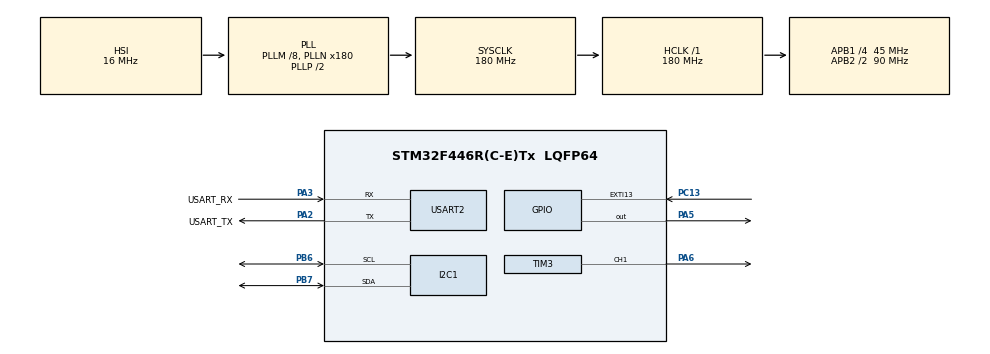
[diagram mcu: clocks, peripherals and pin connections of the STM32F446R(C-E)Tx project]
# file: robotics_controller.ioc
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FREERTOS.Queues01=IMUQueue,4,IMU_State,0,Dynamic,NULL,NULL
FREERTOS.Tasks01=ControlTask,32,512,StartControlTask,Default,NULL,Dynamic,NULL,NULL;SensorTask,24,512,StartSensorTask,Default,NULL,Dynamic,NULL,NULL;WatchdogTask,32,128,StartWatchdogTask,Default,NULL,Dynamic,NULL,NULL
FREERTOS.configUSE_NEWLIB_REENTRANT=1
Mcu.Family=STM32F4
Mcu.Name=STM32F446R(C-E)Tx
Mcu.Package=LQFP64
NUCLEO-F446RE.BUTTON=1
NUCLEO-F446RE.LD1=true
NVIC.EXTI15_10_IRQn=true\:5\:0\:false\:false\:true\:true\:false\:true\:true
NVIC.PriorityGroup=NVIC_PRIORITYGROUP_4
NVIC.TIM2_IRQn=true\:5\:0\:false\:false\:true\:true\:true\:true\:true
NVIC.TIM6_DAC_IRQn=true\:15\:0\:false\:false\:true\:false\:false\:true\:true
NVIC.TimeBase=TIM6_DAC_IRQn
NVIC.TimeBaseIP=TIM6
PA13.GPIO_Label=TMS
PA13.Mode=Serial_Wire
PA13.Signal=SYS_JTMS-SWDIO
PA14.GPIO_Label=TCK
PA14.Mode=Serial_Wire
PA14.Signal=SYS_JTCK-SWCLK
PA2.GPIO_Label=USART_TX
PA2.Mode=Asynchronous
PA2.Signal=USART2_TX
PA3.GPIO_Label=USART_RX
PA3.Mode=Asynchronous
PA3.Signal=USART2_RX
PA5.Signal=GPIO_Output
PA6.Signal=S_TIM3_CH1
PB3.GPIO_Label=SWO
PB3.Signal=SYS_JTDO-SWO
PB6.Mode=I2C
PB6.Signal=I2C1_SCL
PB7.Mode=I2C
PB7.Signal=I2C1_SDA
PC13.Signal=GPXTI13
PC14-OSC32_IN.Signal=RCC_OSC32_IN
PC15-OSC32_OUT.Signal=RCC_OSC32_OUT
PH0-OSC_IN.Mode=HSE-External-Oscillator
PH0-OSC_IN.Signal=RCC_OSC_IN
PH1-OSC_OUT.Mode=HSE-External-Oscillator
PH1-OSC_OUT.Signal=RCC_OSC_OUT
ProjectManager.HeapSize=0x200
ProjectManager.StackSize=0x400
ProjectManager.TargetToolchain=STM32CubeIDE
RCC.AHBFreq_Value=180000000
RCC.APB1CLKDivider=RCC_HCLK_DIV4
RCC.APB1Freq_Value=45000000
RCC.APB1TimFreq_Value=90000000
RCC.APB2CLKDivider=RCC_HCLK_DIV2
RCC.APB2Freq_Value=90000000
RCC.APB2TimFreq_Value=180000000
RCC.CortexFreq_Value=180000000
RCC.FLatency-AdvancedSettings=FLASH_LATENCY_5
RCC.HCLKFreq_Value=180000000
RCC.HSE_VALUE=8000000
RCC.HSI_VALUE=16000000
RCC.LSE_VALUE=32768
RCC.PLLM=8
RCC.PLLN=180
RCC.SYSCLKFreq_VALUE=180000000
RCC.SYSCLKSource=RCC_SYSCLKSOURCE_PLLCLK
RCC.USBFreq_Value=180000000
RCC.VCOOutputFreq_Value=360000000
SH.S_TIM3_CH1.0=TIM3_CH1,PWM Generation1 CH1
TIM2.Period=99
TIM2.Prescaler=8999
TIM3.Channel-PWM\ Generation1\ CH1=TIM_CHANNEL_1
TIM3.Period=999
TIM3.Prescaler=89
USART2.VirtualMode=VM_ASYNC
VP_FREERTOS_VS_CMSIS_V2.Mode=CMSIS_V2
VP_IWDG_VS_IWDG.Mode=IWDG_Activate
VP_NUCLEO-F446RE_VS_BSP_COMMON.Mode=COMMON
VP_SYS_VS_tim6.Mode=TIM6
VP_TIM2_VS_ClockSourceINT.Mode=Internal
board=NUCLEO-F446RE

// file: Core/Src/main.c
/* USER CODE BEGIN Header */
/**
  ******************************************************************************
  * @file           : main.c
  * @brief          : Main program body
  ******************************************************************************
  * @attention
  *
  * Copyright (c) 2026 STMicroelectronics.
  * All rights reserved.
  *
  * This software is licensed under terms that can be found in the LICENSE file
  * in the root directory of this software component.
  * If no LICENSE file comes with this software, it is provided AS-IS.
  *
  ******************************************************************************
  */
/* USER CODE END Header */
#include "main.h"
#include "cmsis_os.h"

/* USER CODE BEGIN Includes */
#include <stdio.h>
#include "system_state.h"
#include <stm32f4xx_hal_tim.h>
#include "mpu6050.h"
#include "imu.h"
#include "motor.h"
/* USER CODE END Includes */

/* USER CODE BEGIN PD */
#define TARGET_PITCH 0.0f

#define KP 2.0f
#define KI 0.5f
#define KD 0.5f

#define INTEGRAL_LIMIT    50.0f
/* USER CODE END PD */

I2C_HandleTypeDef hi2c1;

IWDG_HandleTypeDef hiwdg;

TIM_HandleTypeDef htim2;
TIM_HandleTypeDef htim3;

UART_HandleTypeDef huart2;

/* Definitions for ControlTask */
osThreadId_t ControlTaskHandle;
const osThreadAttr_t ControlTask_attributes = {
  .name = "ControlTask",
  .stack_size = 512 * 4,
  .priority = (osPriority_t) osPriorityAboveNormal,
};
/* Definitions for SensorTask */
osThreadId_t SensorTaskHandle;
const osThreadAttr_t SensorTask_attributes = {
  .name = "SensorTask",
  .stack_size = 512 * 4,
  .priority = (osPriority_t) osPriorityNormal,
};
/* Definitions for WatchdogTask */
osThreadId_t WatchdogTaskHandle;
const osThreadAttr_t WatchdogTask_attributes = {
  .name = "WatchdogTask",
  .stack_size = 128 * 4,
  .priority = (osPriority_t) osPriorityAboveNormal,
};
/* Definitions for IMUQueue */
osMessageQueueId_t IMUQueueHandle;
const osMessageQueueAttr_t IMUQueue_attributes = {
  .name = "IMUQueue"
};
/* USER CODE BEGIN PV */
volatile SystemState system_state = SYSTEM_BOOT;
volatile SystemError system_error = ERROR_NONE;

volatile uint32_t sensor_heartbeat=  0 ;
volatile uint32_t  control_heartbeat = 0;
/* USER CODE END PV */

void SystemClock_Config(void);
static void MX_GPIO_Init(void);
static void MX_I2C1_Init(void);
static void MX_USART2_UART_Init(void);
static void MX_TIM2_Init(void);
static void MX_TIM3_Init(void);
static void MX_IWDG_Init(void);
void StartControlTask(void *argument);
void StartSensorTask(void *argument);
void StartWatchdogTask(void *argument);

/* USER CODE BEGIN 0 */

int __io_putchar(int ch) {
    uint8_t c = (uint8_t)ch;

    HAL_UART_Transmit(&huart2, &c, 1, HAL_MAX_DELAY);

    return ch;
}

/* USER CODE END 0 */

int main(void)
{

  /* MCU Configuration--------------------------------------------------------*/

  /* Reset of all peripherals, Initializes the Flash interface and the Systick. */
  HAL_Init();

  /* Configure the system clock */
  SystemClock_Config();

  /* Initialize all configured peripherals */
  MX_GPIO_Init();
  MX_I2C1_Init();
  MX_USART2_UART_Init();
  MX_TIM2_Init();
  MX_TIM3_Init();
  MX_IWDG_Init();
  /* USER CODE BEGIN 2 */
  if (system_state != SYSTEM_ERROR ){

  if (Motor_Init()== HAL_OK){
	  printf("Motor initialized\r\n");
  }
  else{
	  printf("Motor initialization failed\r\n");
	  system_error = ERROR_CONTROL ;
	  system_state = SYSTEM_ERROR;
  }
}
  HAL_TIM_PWM_Start(&htim3, TIM_CHANNEL_1);

if (IMU_Init() == IMU_OK)
{
    printf("IMU initialization successful\r\n");
}
else
{

    printf("IMU initialization failed\r\n");

    system_error = ERROR_IMU;
    system_state = SYSTEM_ERROR;
}

if (system_state != SYSTEM_ERROR) {
    system_state = SYSTEM_SELF_TEST;

    printf("SELF TEST\r\n");

    /*
     * For now, reaching this point means
     * the required initialization succeeded.
     */

    system_state = SYSTEM_READY;

    printf("SYSTEM READY\r\n");
}

if (system_state == SYSTEM_READY) {
    system_state = SYSTEM_RUNNING;

    printf("SYSTEM RUNNING\r\n");
}

  /* USER CODE END 2 */

  /* Init scheduler */
  osKernelInitialize();

  /* Create the queue(s) */
  /* creation of IMUQueue */
  IMUQueueHandle = osMessageQueueNew (4, sizeof(IMU_State), &IMUQueue_attributes);

  /* Create the thread(s) */
  /* creation of ControlTask */
  ControlTaskHandle = osThreadNew(StartControlTask, NULL, &ControlTask_attributes);

  /* creation of SensorTask */
  SensorTaskHandle = osThreadNew(StartSensorTask, NULL, &SensorTask_attributes);

  /* creation of WatchdogTask */
  WatchdogTaskHandle = osThreadNew(StartWatchdogTask, NULL, &WatchdogTask_attributes);

  /* Initialize leds */
  BSP_LED_Init(LED2);

  /* Initialize USER push-button, will be used to trigger an interrupt each time it's pressed.*/
  BSP_PB_Init(BUTTON_USER, BUTTON_MODE_EXTI);

  /* Start scheduler */
  osKernelStart();

  /* We should never get here as control is now taken by the scheduler */

  /* Infinite loop */
while (1) {

  }
}

void SystemClock_Config(void)
{
  RCC_OscInitTypeDef RCC_OscInitStruct = {0};
  RCC_ClkInitTypeDef RCC_ClkInitStruct = {0};

  /** Configure the main internal regulator output voltage
  */
  __HAL_RCC_PWR_CLK_ENABLE();
  __HAL_PWR_VOLTAGESCALING_CONFIG(PWR_REGULATOR_VOLTAGE_SCALE1);

  /** Initializes the RCC Oscillators according to the specified parameters
  * in the RCC_OscInitTypeDef structure.
  */
  RCC_OscInitStruct.OscillatorType = RCC_OSCILLATORTYPE_HSI|RCC_OSCILLATORTYPE_LSI;
  RCC_OscInitStruct.HSIState = RCC_HSI_ON;
  RCC_OscInitStruct.HSICalibrationValue = RCC_HSICALIBRATION_DEFAULT;
  RCC_OscInitStruct.LSIState = RCC_LSI_ON;
  RCC_OscInitStruct.PLL.PLLState = RCC_PLL_ON;
  RCC_OscInitStruct.PLL.PLLSource = RCC_PLLSOURCE_HSI;
  RCC_OscInitStruct.PLL.PLLM = 8;
  RCC_OscInitStruct.PLL.PLLN = 180;
  RCC_OscInitStruct.PLL.PLLP = RCC_PLLP_DIV2;
  RCC_OscInitStruct.PLL.PLLQ = 2;
  RCC_OscInitStruct.PLL.PLLR = 2;
  if (HAL_RCC_OscConfig(&RCC_OscInitStruct) != HAL_OK)
  {
    Error_Handler();
  }

  /** Activate the Over-Drive mode
  */
  if (HAL_PWREx_EnableOverDrive() != HAL_OK)
  {
    Error_Handler();
  }

  /** Initializes the CPU, AHB and APB buses clocks
  */
  RCC_ClkInitStruct.ClockType = RCC_CLOCKTYPE_HCLK|RCC_CLOCKTYPE_SYSCLK
                              |RCC_CLOCKTYPE_PCLK1|RCC_CLOCKTYPE_PCLK2;
  RCC_ClkInitStruct.SYSCLKSource = RCC_SYSCLKSOURCE_PLLCLK;
  RCC_ClkInitStruct.AHBCLKDivider = RCC_SYSCLK_DIV1;
  RCC_ClkInitStruct.APB1CLKDivider = RCC_HCLK_DIV4;
  RCC_ClkInitStruct.APB2CLKDivider = RCC_HCLK_DIV2;

  if (HAL_RCC_ClockConfig(&RCC_ClkInitStruct, FLASH_LATENCY_5) != HAL_OK)
  {
    Error_Handler();
  }
}

static void MX_I2C1_Init(void)
{

  hi2c1.Instance = I2C1;
  hi2c1.Init.ClockSpeed = 100000;
  hi2c1.Init.DutyCycle = I2C_DUTYCYCLE_2;
  hi2c1.Init.OwnAddress1 = 0;
  hi2c1.Init.AddressingMode = I2C_ADDRESSINGMODE_7BIT;
  hi2c1.Init.DualAddressMode = I2C_DUALADDRESS_DISABLE;
  hi2c1.Init.OwnAddress2 = 0;
  hi2c1.Init.GeneralCallMode = I2C_GENERALCALL_DISABLE;
  hi2c1.Init.NoStretchMode = I2C_NOSTRETCH_DISABLE;
  if (HAL_I2C_Init(&hi2c1) != HAL_OK)
  {
    Error_Handler();
  }

}

static void MX_IWDG_Init(void)
{

  hiwdg.Instance = IWDG;
  hiwdg.Init.Prescaler = IWDG_PRESCALER_4;
  hiwdg.Init.Reload = 4095;
  if (HAL_IWDG_Init(&hiwdg) != HAL_OK)
  {
    Error_Handler();
  }

}

static void MX_TIM2_Init(void)
{

  TIM_ClockConfigTypeDef sClockSourceConfig = {0};
  TIM_MasterConfigTypeDef sMasterConfig = {0};

  htim2.Instance = TIM2;
  htim2.Init.Prescaler = 8999;
  htim2.Init.CounterMode = TIM_COUNTERMODE_UP;
  htim2.Init.Period = 99;
  htim2.Init.ClockDivision = TIM_CLOCKDIVISION_DIV1;
  htim2.Init.AutoReloadPreload = TIM_AUTORELOAD_PRELOAD_DISABLE;
  if (HAL_TIM_Base_Init(&htim2) != HAL_OK)
  {
    Error_Handler();
  }
  sClockSourceConfig.ClockSource = TIM_CLOCKSOURCE_INTERNAL;
  if (HAL_TIM_ConfigClockSource(&htim2, &sClockSourceConfig) != HAL_OK)
  {
    Error_Handler();
  }
  sMasterConfig.MasterOutputTrigger = TIM_TRGO_RESET;
  sMasterConfig.MasterSlaveMode = TIM_MASTERSLAVEMODE_DISABLE;
  if (HAL_TIMEx_MasterConfigSynchronization(&htim2, &sMasterConfig) != HAL_OK)
  {
    Error_Handler();
  }

}

static void MX_TIM3_Init(void)
{

  TIM_MasterConfigTypeDef sMasterConfig = {0};
  TIM_OC_InitTypeDef sConfigOC = {0};

  htim3.Instance = TIM3;
  htim3.Init.Prescaler = 89;
  htim3.Init.CounterMode = TIM_COUNTERMODE_UP;
  htim3.Init.Period = 999;
  htim3.Init.ClockDivision = TIM_CLOCKDIVISION_DIV1;
  htim3.Init.AutoReloadPreload = TIM_AUTORELOAD_PRELOAD_DISABLE;
  if (HAL_TIM_PWM_Init(&htim3) != HAL_OK)
  {
    Error_Handler();
  }
  sMasterConfig.MasterOutputTrigger = TIM_TRGO_RESET;
  sMasterConfig.MasterSlaveMode = TIM_MASTERSLAVEMODE_DISABLE;
  if (HAL_TIMEx_MasterConfigSynchronization(&htim3, &sMasterConfig) != HAL_OK)
  {
    Error_Handler();
  }
  sConfigOC.OCMode = TIM_OCMODE_PWM1;
  sConfigOC.Pulse = 0;
  sConfigOC.OCPolarity = TIM_OCPOLARITY_HIGH;
  sConfigOC.OCFastMode = TIM_OCFAST_DISABLE;
  if (HAL_TIM_PWM_ConfigChannel(&htim3, &sConfigOC, TIM_CHANNEL_1) != HAL_OK)
  {
    Error_Handler();
  }
  HAL_TIM_MspPostInit(&htim3);

}

static void MX_USART2_UART_Init(void)
{

  huart2.Instance = USART2;
  huart2.Init.BaudRate = 115200;
  huart2.Init.WordLength = UART_WORDLENGTH_8B;
  huart2.Init.StopBits = UART_STOPBITS_1;
  huart2.Init.Parity = UART_PARITY_NONE;
  huart2.Init.Mode = UART_MODE_TX_RX;
  huart2.Init.HwFlowCtl = UART_HWCONTROL_NONE;
  huart2.Init.OverSampling = UART_OVERSAMPLING_16;
  if (HAL_UART_Init(&huart2) != HAL_OK)
  {
    Error_Handler();
  }

}

static void MX_GPIO_Init(void)
{

  /* GPIO Ports Clock Enable */
  __HAL_RCC_GPIOC_CLK_ENABLE();
  __HAL_RCC_GPIOH_CLK_ENABLE();
  __HAL_RCC_GPIOA_CLK_ENABLE();
  __HAL_RCC_GPIOB_CLK_ENABLE();

}

void StartControlTask(void *argument)
{
  /* USER CODE BEGIN 5 */
	IMU_State imu;
    float integral = 0.0f;
	uint32_t last_time = HAL_GetTick();

  /* Infinite loop */
    for(;;)
    {
        if (osMessageQueueGet(
                IMUQueueHandle,
                &imu,
                NULL,
                osWaitForever) == osOK)
        {
        	if (system_state != SYSTEM_RUNNING){
        	Motor_SetCommand(0.0f);
        	continue;
        	}

        	uint32_t current_time = HAL_GetTick();
			float dt = (current_time - last_time)/1000.f;
			last_time = current_time;

			float error = TARGET_PITCH - imu.pitch;
			integral += error * dt;

			if (integral > INTEGRAL_LIMIT) {
				integral = INTEGRAL_LIMIT;
			}
			if (integral < -INTEGRAL_LIMIT) {
				integral = -INTEGRAL_LIMIT;
			}

			float derivative = -imu.gyro_y_dps;

        	float motor_command = KP*error + KI*integral + KD * derivative ;

            if (Motor_SetCommand(motor_command) != HAL_OK){
            	printf("Motor command failed\r\n");
            }
            else{
printf(
    "PITCH=%.2f ERR=%.2f I=%.2f GY=%.2f CMD=%.2f\r\n",
    imu.pitch,
    error,
    integral,
    imu.gyro_y_dps,
    motor_command
);
            }

    }
    }
  /* USER CODE END 5 */
}

void StartSensorTask(void *argument)
{
  /* USER CODE BEGIN StartSensorTask */
  IMU_State imu;

  uint32_t previous_sample_time = HAL_GetTick();
  HAL_TIM_Base_Start_IT(&htim2);
  /* Infinite loop */
  for(;;)
  {
    osThreadFlagsWait(
        0x01,
        osFlagsWaitAny,
        osWaitForever
    );

    uint32_t current_sample_time = HAL_GetTick();

    float dt =
        (current_sample_time - previous_sample_time)
        / 1000.0f;

    previous_sample_time = current_sample_time;

    if (IMU_Update(dt, &imu) == IMU_OK)
    {
    	osStatus_t queue_status;
        queue_status = osMessageQueuePut(
            IMUQueueHandle,
            &imu,
            0,
            0
        );
        if (queue_status != osOK){
        	printf("WARNING : IMU queue full\r\n");
        }
    }
    else {
        printf("IMU update failed\r\n");

        system_error = ERROR_IMU;
        system_state = SYSTEM_ERROR;
        Motor_SetCommand(0.0f);
    }
  }
  /* USER CODE END StartSensorTask */
}

void StartWatchdogTask(void *argument)
{
  /* USER CODE BEGIN StartWatchdogTask */
	uint32_t last_sensor_heartbeat = 0;
	uint32_t last_control_heartbeat = 0;
  /* Infinite loop */
  for(;;)
  {

    osDelay(100);

    if ((sensor_heartbeat != last_sensor_heartbeat) && (control_heartbeat != last_control_heartbeat)) {
    	last_sensor_heartbeat = sensor_heartbeat;
    	last_control_heartbeat = control_heartbeat ;

    	HAL_IWDG_Refresh(&hiwdg);
    }
  }
  /* USER CODE END StartWatchdogTask */
}

void HAL_TIM_PeriodElapsedCallback(TIM_HandleTypeDef *htim)
{
  /* USER CODE BEGIN Callback 0 */
	if (htim->Instance == TIM2){
		osThreadFlagsSet(
				SensorTaskHandle,
				0x01);

	}

  /* USER CODE END Callback 0 */
  if (htim->Instance == TIM6)
  {
    HAL_IncTick();
  }
}

void Error_Handler(void)
{
  __disable_irq();
  while (1)
  {
  }
}
